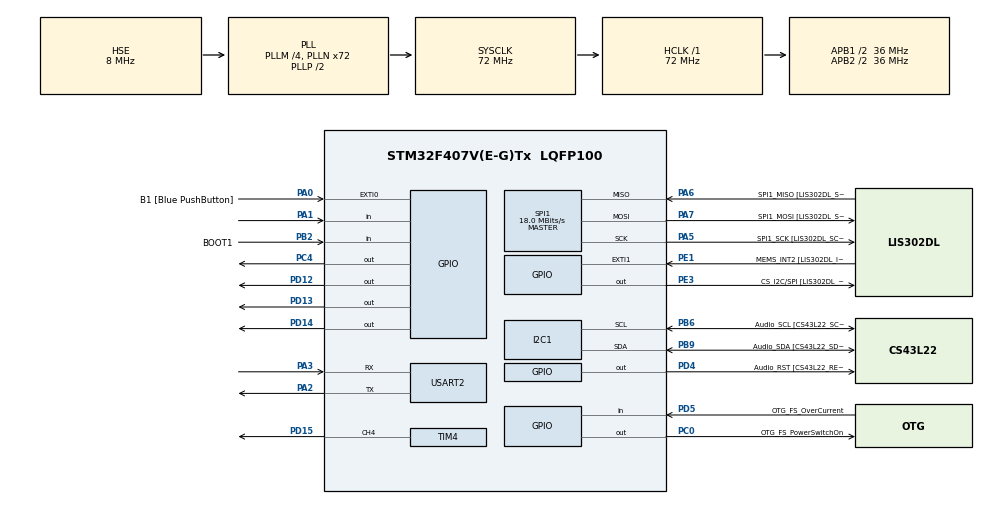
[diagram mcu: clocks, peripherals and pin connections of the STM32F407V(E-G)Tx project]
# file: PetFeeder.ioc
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Mcu.Family=STM32F4
Mcu.Name=STM32F407V(E-G)Tx
Mcu.Package=LQFP100
NVIC.PriorityGroup=NVIC_PRIORITYGROUP_0
PA0-WKUP.GPIO_Label=B1 [Blue PushButton]
PA0-WKUP.GPIO_ModeDefaultEXTI=GPIO_MODE_EVT_RISING
PA0-WKUP.GPIO_PuPd=GPIO_NOPULL
PA0-WKUP.Signal=GPXTI0
PA1.Signal=GPIO_Input
PA13.Mode=Serial_Wire
PA13.Signal=SYS_JTMS-SWDIO
PA14.Mode=Serial_Wire
PA14.Signal=SYS_JTCK-SWCLK
PA2.Mode=Asynchronous
PA2.Signal=USART2_TX
PA3.Mode=Asynchronous
PA3.Signal=USART2_RX
PA4.GPIO_Label=I2S3_WS [CS43L22_LRCK]
PA4.GPIO_Mode=GPIO_MODE_AF_PP
PA4.GPIO_PuPd=GPIO_NOPULL
PA4.GPIO_Speed=GPIO_SPEED_FREQ_LOW
PA4.Signal=I2S3_WS
PA5.GPIO_Label=SPI1_SCK [LIS302DL_SCL/SPC]
PA5.GPIO_Mode=GPIO_MODE_AF_PP
PA5.GPIO_PuPd=GPIO_NOPULL
PA5.GPIO_Speed=GPIO_SPEED_FREQ_LOW
PA5.Mode=Full_Duplex_Master
PA5.Signal=SPI1_SCK
PA6.GPIO_Label=SPI1_MISO [LIS302DL_SDO]
PA6.GPIO_Mode=GPIO_MODE_AF_PP
PA6.GPIO_PuPd=GPIO_NOPULL
PA6.GPIO_Speed=GPIO_SPEED_FREQ_LOW
PA6.Mode=Full_Duplex_Master
PA6.Signal=SPI1_MISO
PA7.GPIO_Label=SPI1_MOSI [LIS302DL_SDA/SDI/SDO]
PA7.GPIO_Mode=GPIO_MODE_AF_PP
PA7.GPIO_PuPd=GPIO_NOPULL
PA7.GPIO_Speed=GPIO_SPEED_FREQ_LOW
PA7.Mode=Full_Duplex_Master
PA7.Signal=SPI1_MOSI
PB2.GPIO_Label=BOOT1
PB2.GPIO_Mode=GPIO_MODE_INPUT
PB2.GPIO_PuPd=GPIO_NOPULL
PB2.Signal=GPIO_Input
PB3.GPIO_Label=SWO
PB3.Signal=SYS_JTDO-SWO
PB6.GPIO_Label=Audio_SCL [CS43L22_SCL]
PB6.GPIO_Mode=GPIO_MODE_AF_OD
PB6.GPIO_PuPd=GPIO_NOPULL
PB6.GPIO_Speed=GPIO_SPEED_FREQ_LOW
PB6.Mode=I2C
PB6.Signal=I2C1_SCL
PB9.GPIO_Label=Audio_SDA [CS43L22_SDA]
PB9.GPIO_Mode=GPIO_MODE_AF_OD
PB9.GPIO_PuPd=GPIO_NOPULL
PB9.GPIO_Speed=GPIO_SPEED_FREQ_LOW
PB9.Mode=I2C
PB9.Signal=I2C1_SDA
PC0.GPIO_Label=OTG_FS_PowerSwitchOn
PC0.GPIO_PuPd=GPIO_NOPULL
PC0.GPIO_Speed=GPIO_SPEED_FREQ_LOW
PC0.PinState=GPIO_PIN_SET
PC0.Signal=GPIO_Output
PC12.GPIO_Label=I2S3_SD [CS43L22_SDIN]
PC12.GPIO_Mode=GPIO_MODE_AF_PP
PC12.GPIO_PuPd=GPIO_NOPULL
PC12.GPIO_Speed=GPIO_SPEED_FREQ_LOW
PC12.Signal=I2S3_SD
PC14-OSC32_IN.GPIO_Label=PC14-OSC32_IN
PC14-OSC32_IN.Mode=LSE-External-Oscillator
PC14-OSC32_IN.Signal=RCC_OSC32_IN
PC15-OSC32_OUT.GPIO_Label=PC15-OSC32_OUT
PC15-OSC32_OUT.Mode=LSE-External-Oscillator
PC15-OSC32_OUT.Signal=RCC_OSC32_OUT
PC3.GPIO_Label=PDM_OUT [MP45DT02_DOUT]
PC3.GPIO_Mode=GPIO_MODE_AF_PP
PC3.GPIO_PuPd=GPIO_NOPULL
PC3.GPIO_Speed=GPIO_SPEED_FREQ_LOW
PC3.Signal=I2S2_SD
PC4.Signal=GPIO_Output
PC7.GPIO_Label=I2S3_MCK [CS43L22_MCLK]
PC7.GPIO_Mode=GPIO_MODE_AF_PP
PC7.GPIO_PuPd=GPIO_NOPULL
PC7.GPIO_Speed=GPIO_SPEED_FREQ_LOW
PC7.Signal=I2S3_MCK
PD12.Signal=GPIO_Output
PD13.Signal=GPIO_Output
PD14.Signal=GPIO_Output
PD15.Signal=S_TIM4_CH4
PD4.GPIO_Label=Audio_RST [CS43L22_RESET]
PD4.GPIO_PuPd=GPIO_NOPULL
PD4.GPIO_Speed=GPIO_SPEED_FREQ_LOW
PD4.Signal=GPIO_Output
PD5.GPIO_Label=OTG_FS_OverCurrent
PD5.GPIO_Mode=GPIO_MODE_INPUT
PD5.GPIO_PuPd=GPIO_NOPULL
PD5.Signal=GPIO_Input
PE1.GPIO_Label=MEMS_INT2 [LIS302DL_INT2]
PE1.GPIO_ModeDefaultEXTI=GPIO_MODE_EVT_RISING
PE1.GPIO_PuPd=GPIO_NOPULL
PE1.Signal=GPXTI1
PE3.GPIO_Label=CS_I2C/SPI [LIS302DL_CS_I2C/SPI]
PE3.GPIO_PuPd=GPIO_NOPULL
PE3.GPIO_Speed=GPIO_SPEED_FREQ_LOW
PE3.Signal=GPIO_Output
PH0-OSC_IN.GPIO_Label=PH0-OSC_IN
PH0-OSC_IN.Mode=HSE-External-Oscillator
PH0-OSC_IN.Signal=RCC_OSC_IN
PH1-OSC_OUT.GPIO_Label=PH1-OSC_OUT
PH1-OSC_OUT.Mode=HSE-External-Oscillator
PH1-OSC_OUT.Signal=RCC_OSC_OUT
ProjectManager.HeapSize=0x200
ProjectManager.StackSize=0x400
ProjectManager.TargetToolchain=STM32CubeIDE
RCC.48MHZClocksFreq_Value=20571428.57142857
RCC.AHBFreq_Value=72000000
RCC.APB1CLKDivider=RCC_HCLK_DIV2
RCC.APB1Freq_Value=36000000
RCC.APB1TimFreq_Value=72000000
RCC.APB2CLKDivider=RCC_HCLK_DIV2
RCC.APB2Freq_Value=36000000
RCC.APB2TimFreq_Value=72000000
RCC.CortexFreq_Value=72000000
RCC.HCLKFreq_Value=72000000
RCC.HSE_VALUE=8000000
RCC.HSI_VALUE=16000000
RCC.PLLM=4
RCC.PLLN=72
RCC.PLLQ=7
RCC.PLLSourceVirtual=RCC_PLLSOURCE_HSE
RCC.SYSCLKFreq_VALUE=72000000
RCC.SYSCLKSource=RCC_SYSCLKSOURCE_PLLCLK
RCC.VCOOutputFreq_Value=144000000
RTC.AsynchPrediv=127
RTC.SynchPrediv=255
SH.S_TIM4_CH4.0=TIM4_CH4,PWM Generation4 CH4
SPI1.BaudRatePrescaler-Full_Duplex_Master=SPI_BAUDRATEPRESCALER_2
SPI1.CalculateBaudRate=18.0 MBits/s
SPI1.CalculateBaudRate-Full_Duplex_Master=42.0 MBits/s
SPI1.Direction=SPI_DIRECTION_2LINES
SPI1.Mode=SPI_MODE_MASTER
SPI1.Mode-Full_Duplex_Master=SPI_MODE_MASTER
SPI1.VirtualType=VM_MASTER
TIM4.Channel-PWM\ Generation4\ CH4=TIM_CHANNEL_4
TIM4.Period=1000
TIM4.Prescaler=71
USART2.VirtualMode=VM_ASYNC
VP_RTC_VS_RTC_Activate.Mode=RTC_Enabled
VP_RTC_VS_RTC_Calendar.Mode=RTC_Calendar
VP_TIM4_VS_ClockSourceINT.Mode=Internal
board=STM32F4DISCOVERY

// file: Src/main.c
/* USER CODE BEGIN Header */
/**
  ******************************************************************************
  * @file           : main.c
  * @brief          : Main program body
  ******************************************************************************
  * @attention
  *
  * <h2><center>&copy; Copyright (c) 2019 STMicroelectronics.
  * All rights reserved.</center></h2>
  *
  * This software component is licensed by ST under Ultimate Liberty license
  * SLA0044, the "License"; You may not use this file except in compliance with
  * the License. You may obtain a copy of the License at:
  *                             www.st.com/SLA0044
  *
  ******************************************************************************
  */
/* USER CODE END Header */

#include "main.h"

/* USER CODE BEGIN Includes */
#include <time.h>
/* USER CODE END Includes */

I2C_HandleTypeDef hi2c1;

RTC_HandleTypeDef hrtc;

SPI_HandleTypeDef hspi1;

TIM_HandleTypeDef htim4;

UART_HandleTypeDef huart2;

void SystemClock_Config(void);
static void MX_GPIO_Init(void);
static void MX_I2C1_Init(void);
static void MX_SPI1_Init(void);
static void MX_TIM4_Init(void);
static void MX_RTC_Init(void);
static void MX_USART2_UART_Init(void);

/* USER CODE BEGIN 0 */
uint32_t dist;
uint32_t sensor_time;

unsigned int hour0;
unsigned int min0;
unsigned int sec0;
unsigned int diffNotifyTime;
unsigned int delayTime;
int maxEmpty = 20;
char buf[10];
int tmp;

void delay (uint32_t us)
  {
   __HAL_TIM_SET_COUNTER(&htim4, 0);
   while ((__HAL_TIM_GET_COUNTER(&htim4))<us);
  }
  uint32_t hcsr04_read (void)
  {
   uint32_t local_time=0;
   HAL_GPIO_WritePin(GPIOC, GPIO_PIN_4, GPIO_PIN_RESET);  // pull the TRIG pin HIGH
   delay(2);  // wait for 2 us

   HAL_GPIO_WritePin(GPIOC, GPIO_PIN_4, GPIO_PIN_SET);  // pull the TRIG pin HIGH
   delay(10);  // wait for 10 us
   HAL_GPIO_WritePin(GPIOC, GPIO_PIN_4, GPIO_PIN_RESET);  // pull the TRIG pin low

   // read the time for which the pin is high

   while (!(HAL_GPIO_ReadPin(GPIOA, GPIO_PIN_1)));  // wait for the ECHO pin to go high
   while (HAL_GPIO_ReadPin(GPIOA, GPIO_PIN_1))    // while the pin is high
    {
    local_time++;   // measure time for which the pin is high
    delay (1);
    }
   return local_time;
  }

 unsigned int rtc_read(int mode) {//0 for hour, 1 for minute, 2 for second
      RTC_DateTypeDef dateStruct;
      RTC_TimeTypeDef timeStruct;
      struct tm timeinfo;

      hrtc.Instance = RTC;

      // Read actual date and time
      HAL_RTC_GetTime(&hrtc, &timeStruct, FORMAT_BIN); // Read time first!
      HAL_RTC_GetDate(&hrtc, &dateStruct, FORMAT_BIN);

      // Setup a tm structure based on the RTC
      timeinfo.tm_wday = dateStruct.WeekDay;
      timeinfo.tm_mon  = dateStruct.Month - 1;
      timeinfo.tm_mday = dateStruct.Date;
      timeinfo.tm_year = dateStruct.Year + 100;
      timeinfo.tm_hour = timeStruct.Hours;
      timeinfo.tm_min  = timeStruct.Minutes;
      timeinfo.tm_sec  = timeStruct.Seconds;

      if(mode==0) return timeinfo.tm_year;
      if(mode==1) return timeinfo.tm_min;
      return timeinfo.tm_sec;
  }

unsigned int getTime(unsigned int hour,unsigned int min,unsigned int sec)
{
	return hour*3600+min*60+sec;
}

_Bool canNotify()
{
	 unsigned int hour2=rtc_read(0);
	 unsigned int min2=rtc_read(1);
	 unsigned int sec2=rtc_read(2);
	 unsigned int oldTime=getTime(hour0,min0,sec0);
	 unsigned int newTime=getTime(hour2,min2,sec2);
	 if((newTime-oldTime) > diffNotifyTime) return 1;
	 else return 0;
}

void setCurTime()
{
	hour0=rtc_read(0);
	min0=rtc_read(1);
	sec0=rtc_read(2);
	return ;

}

void initNotify(unsigned int diffTime)
{
	setCurTime();
	diffNotifyTime=diffTime-delayTime/1000;
	return;
}

void notify()
{
	if(!canNotify()) return;
	char c[]="1";
	HAL_UART_Transmit(&huart2, c, sizeof(c), 1000);
	setCurTime();
	return;
}

uint32_t readFromSensor()
{
	return hcsr04_read() * .0346;
}

void sendByUART(_Bool status,int dist) //send To uart LIKE "OFF,ERROR" or "ON,50"
{
	int tmp = (int)((((double)maxEmpty - (double)dist)/(double)maxEmpty)*100);
	for(int i=0;i<10;i++) buf[i]='\0';
	if(tmp < 0)
	{
		if(!status) sprintf(buf,"OFF,ERROR");
		else sprintf(buf,"ON,ERROR");
	}
	else
	{
		if(!status) sprintf(buf,"OFF,%d",tmp);
		else sprintf(buf,"ON,%d",tmp);

	}
	HAL_UART_Transmit(&huart2, buf, sizeof(buf), 1000);
}

/* USER CODE END 0 */

int main(void)
{

  /* MCU Configuration--------------------------------------------------------*/

  /* Reset of all peripherals, Initializes the Flash interface and the Systick. */
HAL_Init();

  /* Configure the system clock */
  SystemClock_Config();

  /* USER CODE BEGIN SysInit */

  unsigned int minEmpty=15;
  unsigned int maxEmpty=20;
  unsigned int diffTime = 10;//In second
  delayTime = 1000; //In milli second
  initNotify(diffTime);

  /* USER CODE END SysInit */

  /* Initialize all configured peripherals */
  MX_GPIO_Init();
  MX_I2C1_Init();
  MX_SPI1_Init();
  MX_TIM4_Init();
  MX_RTC_Init();
  MX_USART2_UART_Init();

  /* Infinite loop */
  /* USER CODE BEGIN WHILE */
  HAL_TIM_PWM_Start(&htim4, TIM_CHANNEL_4);
  while (1)
  {
	  /////////1//////
	  dist  = readFromSensor();
	  if(dist >= minEmpty && dist<=maxEmpty){ //Empty -> Notify
		  HAL_Delay(30);
		  dist = readFromSensor();
		  if(dist >=minEmpty && dist <=maxEmpty)
		  {
			  //notify();
			  //HAL_GPIO_WritePin(GPIOD, GPIO_PIN_14, 1);
			  //HAL_GPIO_WritePin(GPIOD, GPIO_PIN_13, 0);
		  }
	  }
	  else{ //Full
		  //HAL_GPIO_WritePin(GPIOD, GPIO_PIN_14, 0);
		  //HAL_GPIO_WritePin(GPIOD, GPIO_PIN_13, 1);
	  }
	  _Bool status = HAL_GPIO_ReadPin(GPIOD, GPIO_PIN_14);
	  sendByUART(status, dist);
	  HAL_Delay(delayTime);

	  if(HAL_UART_Receive(&huart2, buf, 1, 1000) == HAL_OK){ //if receive data from NODEMCU
		  if(buf[0]=='1')
		  {
			  HAL_GPIO_WritePin(GPIOD, GPIO_PIN_13, 1);
			  HAL_Delay(1000);
			  HAL_GPIO_WritePin(GPIOD, GPIO_PIN_13, 0);
		  }
	  }

    /* USER CODE END WHILE */

  }
}

void SystemClock_Config(void)
{
  RCC_OscInitTypeDef RCC_OscInitStruct = {0};
  RCC_ClkInitTypeDef RCC_ClkInitStruct = {0};
  RCC_PeriphCLKInitTypeDef PeriphClkInitStruct = {0};

  /** Configure the main internal regulator output voltage
  */
  __HAL_RCC_PWR_CLK_ENABLE();
  __HAL_PWR_VOLTAGESCALING_CONFIG(PWR_REGULATOR_VOLTAGE_SCALE1);
  /** Initializes the CPU, AHB and APB busses clocks
  */
  RCC_OscInitStruct.OscillatorType = RCC_OSCILLATORTYPE_LSI|RCC_OSCILLATORTYPE_HSE;
  RCC_OscInitStruct.HSEState = RCC_HSE_ON;
  RCC_OscInitStruct.LSIState = RCC_LSI_ON;
  RCC_OscInitStruct.PLL.PLLState = RCC_PLL_ON;
  RCC_OscInitStruct.PLL.PLLSource = RCC_PLLSOURCE_HSE;
  RCC_OscInitStruct.PLL.PLLM = 4;
  RCC_OscInitStruct.PLL.PLLN = 72;
  RCC_OscInitStruct.PLL.PLLP = RCC_PLLP_DIV2;
  RCC_OscInitStruct.PLL.PLLQ = 7;
  if (HAL_RCC_OscConfig(&RCC_OscInitStruct) != HAL_OK)
  {
    Error_Handler();
  }
  /** Initializes the CPU, AHB and APB busses clocks
  */
  RCC_ClkInitStruct.ClockType = RCC_CLOCKTYPE_HCLK|RCC_CLOCKTYPE_SYSCLK
                              |RCC_CLOCKTYPE_PCLK1|RCC_CLOCKTYPE_PCLK2;
  RCC_ClkInitStruct.SYSCLKSource = RCC_SYSCLKSOURCE_PLLCLK;
  RCC_ClkInitStruct.AHBCLKDivider = RCC_SYSCLK_DIV1;
  RCC_ClkInitStruct.APB1CLKDivider = RCC_HCLK_DIV2;
  RCC_ClkInitStruct.APB2CLKDivider = RCC_HCLK_DIV2;

  if (HAL_RCC_ClockConfig(&RCC_ClkInitStruct, FLASH_LATENCY_2) != HAL_OK)
  {
    Error_Handler();
  }
  PeriphClkInitStruct.PeriphClockSelection = RCC_PERIPHCLK_RTC;
  PeriphClkInitStruct.RTCClockSelection = RCC_RTCCLKSOURCE_LSI;
  if (HAL_RCCEx_PeriphCLKConfig(&PeriphClkInitStruct) != HAL_OK)
  {
    Error_Handler();
  }
}

static void MX_I2C1_Init(void)
{

  hi2c1.Instance = I2C1;
  hi2c1.Init.ClockSpeed = 100000;
  hi2c1.Init.DutyCycle = I2C_DUTYCYCLE_2;
  hi2c1.Init.OwnAddress1 = 0;
  hi2c1.Init.AddressingMode = I2C_ADDRESSINGMODE_7BIT;
  hi2c1.Init.DualAddressMode = I2C_DUALADDRESS_DISABLE;
  hi2c1.Init.OwnAddress2 = 0;
  hi2c1.Init.GeneralCallMode = I2C_GENERALCALL_DISABLE;
  hi2c1.Init.NoStretchMode = I2C_NOSTRETCH_DISABLE;
  if (HAL_I2C_Init(&hi2c1) != HAL_OK)
  {
    Error_Handler();
  }

}

static void MX_RTC_Init(void)
{

  RTC_TimeTypeDef sTime = {0};
  RTC_DateTypeDef sDate = {0};

  /** Initialize RTC Only
  */
  hrtc.Instance = RTC;
  hrtc.Init.HourFormat = RTC_HOURFORMAT_24;
  hrtc.Init.AsynchPrediv = 127;
  hrtc.Init.SynchPrediv = 255;
  hrtc.Init.OutPut = RTC_OUTPUT_DISABLE;
  hrtc.Init.OutPutPolarity = RTC_OUTPUT_POLARITY_HIGH;
  hrtc.Init.OutPutType = RTC_OUTPUT_TYPE_OPENDRAIN;
  if (HAL_RTC_Init(&hrtc) != HAL_OK)
  {
    Error_Handler();
  }

  /** Initialize RTC and set the Time and Date
  */
  sTime.Hours = 0x0;
  sTime.Minutes = 0x0;
  sTime.Seconds = 0x0;
  sTime.DayLightSaving = RTC_DAYLIGHTSAVING_NONE;
  sTime.StoreOperation = RTC_STOREOPERATION_RESET;
  if (HAL_RTC_SetTime(&hrtc, &sTime, RTC_FORMAT_BCD) != HAL_OK)
  {
    Error_Handler();
  }
  sDate.WeekDay = RTC_WEEKDAY_MONDAY;
  sDate.Month = RTC_MONTH_JANUARY;
  sDate.Date = 0x1;
  sDate.Year = 0x0;

  if (HAL_RTC_SetDate(&hrtc, &sDate, RTC_FORMAT_BCD) != HAL_OK)
  {
    Error_Handler();
  }

}

static void MX_SPI1_Init(void)
{

  /* SPI1 parameter configuration*/
  hspi1.Instance = SPI1;
  hspi1.Init.Mode = SPI_MODE_MASTER;
  hspi1.Init.Direction = SPI_DIRECTION_2LINES;
  hspi1.Init.DataSize = SPI_DATASIZE_8BIT;
  hspi1.Init.CLKPolarity = SPI_POLARITY_LOW;
  hspi1.Init.CLKPhase = SPI_PHASE_1EDGE;
  hspi1.Init.NSS = SPI_NSS_SOFT;
  hspi1.Init.BaudRatePrescaler = SPI_BAUDRATEPRESCALER_2;
  hspi1.Init.FirstBit = SPI_FIRSTBIT_MSB;
  hspi1.Init.TIMode = SPI_TIMODE_DISABLE;
  hspi1.Init.CRCCalculation = SPI_CRCCALCULATION_DISABLE;
  hspi1.Init.CRCPolynomial = 10;
  if (HAL_SPI_Init(&hspi1) != HAL_OK)
  {
    Error_Handler();
  }

}

static void MX_TIM4_Init(void)
{

  TIM_ClockConfigTypeDef sClockSourceConfig = {0};
  TIM_MasterConfigTypeDef sMasterConfig = {0};
  TIM_OC_InitTypeDef sConfigOC = {0};

  htim4.Instance = TIM4;
  htim4.Init.Prescaler = 71;
  htim4.Init.CounterMode = TIM_COUNTERMODE_UP;
  htim4.Init.Period = 1000;
  htim4.Init.ClockDivision = TIM_CLOCKDIVISION_DIV1;
  htim4.Init.AutoReloadPreload = TIM_AUTORELOAD_PRELOAD_DISABLE;
  if (HAL_TIM_Base_Init(&htim4) != HAL_OK)
  {
    Error_Handler();
  }
  sClockSourceConfig.ClockSource = TIM_CLOCKSOURCE_INTERNAL;
  if (HAL_TIM_ConfigClockSource(&htim4, &sClockSourceConfig) != HAL_OK)
  {
    Error_Handler();
  }
  if (HAL_TIM_PWM_Init(&htim4) != HAL_OK)
  {
    Error_Handler();
  }
  sMasterConfig.MasterOutputTrigger = TIM_TRGO_RESET;
  sMasterConfig.MasterSlaveMode = TIM_MASTERSLAVEMODE_DISABLE;
  if (HAL_TIMEx_MasterConfigSynchronization(&htim4, &sMasterConfig) != HAL_OK)
  {
    Error_Handler();
  }
  sConfigOC.OCMode = TIM_OCMODE_PWM1;
  sConfigOC.Pulse = 0;
  sConfigOC.OCPolarity = TIM_OCPOLARITY_HIGH;
  sConfigOC.OCFastMode = TIM_OCFAST_DISABLE;
  if (HAL_TIM_PWM_ConfigChannel(&htim4, &sConfigOC, TIM_CHANNEL_4) != HAL_OK)
  {
    Error_Handler();
  }
  HAL_TIM_MspPostInit(&htim4);

}

static void MX_USART2_UART_Init(void)
{

  huart2.Instance = USART2;
  huart2.Init.BaudRate = 115200;
  huart2.Init.WordLength = UART_WORDLENGTH_8B;
  huart2.Init.StopBits = UART_STOPBITS_1;
  huart2.Init.Parity = UART_PARITY_NONE;
  huart2.Init.Mode = UART_MODE_TX_RX;
  huart2.Init.HwFlowCtl = UART_HWCONTROL_NONE;
  huart2.Init.OverSampling = UART_OVERSAMPLING_16;
  if (HAL_UART_Init(&huart2) != HAL_OK)
  {
    Error_Handler();
  }

}

static void MX_GPIO_Init(void)
{
  GPIO_InitTypeDef GPIO_InitStruct = {0};

  /* GPIO Ports Clock Enable */
  __HAL_RCC_GPIOE_CLK_ENABLE();
  __HAL_RCC_GPIOC_CLK_ENABLE();
  __HAL_RCC_GPIOH_CLK_ENABLE();
  __HAL_RCC_GPIOA_CLK_ENABLE();
  __HAL_RCC_GPIOB_CLK_ENABLE();
  __HAL_RCC_GPIOD_CLK_ENABLE();

  /*Configure GPIO pin Output Level */
  HAL_GPIO_WritePin(CS_I2C_SPI_GPIO_Port, CS_I2C_SPI_Pin, GPIO_PIN_RESET);

  /*Configure GPIO pin Output Level */
  HAL_GPIO_WritePin(OTG_FS_PowerSwitchOn_GPIO_Port, OTG_FS_PowerSwitchOn_Pin, GPIO_PIN_SET);

  /*Configure GPIO pin Output Level */
  HAL_GPIO_WritePin(GPIOC, GPIO_PIN_4, GPIO_PIN_RESET);

  /*Configure GPIO pin Output Level */
  HAL_GPIO_WritePin(GPIOD, GPIO_PIN_12|GPIO_PIN_13|GPIO_PIN_14|Audio_RST_Pin, GPIO_PIN_RESET);

  /*Configure GPIO pin : CS_I2C_SPI_Pin */
  GPIO_InitStruct.Pin = CS_I2C_SPI_Pin;
  GPIO_InitStruct.Mode = GPIO_MODE_OUTPUT_PP;
  GPIO_InitStruct.Pull = GPIO_NOPULL;
  GPIO_InitStruct.Speed = GPIO_SPEED_FREQ_LOW;
  HAL_GPIO_Init(CS_I2C_SPI_GPIO_Port, &GPIO_InitStruct);

  /*Configure GPIO pins : OTG_FS_PowerSwitchOn_Pin PC4 */
  GPIO_InitStruct.Pin = OTG_FS_PowerSwitchOn_Pin|GPIO_PIN_4;
  GPIO_InitStruct.Mode = GPIO_MODE_OUTPUT_PP;
  GPIO_InitStruct.Pull = GPIO_NOPULL;
  GPIO_InitStruct.Speed = GPIO_SPEED_FREQ_LOW;
  HAL_GPIO_Init(GPIOC, &GPIO_InitStruct);

  /*Configure GPIO pin : PDM_OUT_Pin */
  GPIO_InitStruct.Pin = PDM_OUT_Pin;
  GPIO_InitStruct.Mode = GPIO_MODE_AF_PP;
  GPIO_InitStruct.Pull = GPIO_NOPULL;
  GPIO_InitStruct.Speed = GPIO_SPEED_FREQ_LOW;
  GPIO_InitStruct.Alternate = GPIO_AF5_SPI2;
  HAL_GPIO_Init(PDM_OUT_GPIO_Port, &GPIO_InitStruct);

  /*Configure GPIO pin : B1_Pin */
  GPIO_InitStruct.Pin = B1_Pin;
  GPIO_InitStruct.Mode = GPIO_MODE_EVT_RISING;
  GPIO_InitStruct.Pull = GPIO_NOPULL;
  HAL_GPIO_Init(B1_GPIO_Port, &GPIO_InitStruct);

  /*Configure GPIO pin : PA1 */
  GPIO_InitStruct.Pin = GPIO_PIN_1;
  GPIO_InitStruct.Mode = GPIO_MODE_INPUT;
  GPIO_InitStruct.Pull = GPIO_NOPULL;
  HAL_GPIO_Init(GPIOA, &GPIO_InitStruct);

  /*Configure GPIO pin : I2S3_WS_Pin */
  GPIO_InitStruct.Pin = I2S3_WS_Pin;
  GPIO_InitStruct.Mode = GPIO_MODE_AF_PP;
  GPIO_InitStruct.Pull = GPIO_NOPULL;
  GPIO_InitStruct.Speed = GPIO_SPEED_FREQ_LOW;
  GPIO_InitStruct.Alternate = GPIO_AF6_SPI3;
  HAL_GPIO_Init(I2S3_WS_GPIO_Port, &GPIO_InitStruct);

  /*Configure GPIO pin : BOOT1_Pin */
  GPIO_InitStruct.Pin = BOOT1_Pin;
  GPIO_InitStruct.Mode = GPIO_MODE_INPUT;
  GPIO_InitStruct.Pull = GPIO_NOPULL;
  HAL_GPIO_Init(BOOT1_GPIO_Port, &GPIO_InitStruct);

  /*Configure GPIO pins : PD12 PD13 PD14 Audio_RST_Pin */
  GPIO_InitStruct.Pin = GPIO_PIN_12|GPIO_PIN_13|GPIO_PIN_14|Audio_RST_Pin;
  GPIO_InitStruct.Mode = GPIO_MODE_OUTPUT_PP;
  GPIO_InitStruct.Pull = GPIO_NOPULL;
  GPIO_InitStruct.Speed = GPIO_SPEED_FREQ_LOW;
  HAL_GPIO_Init(GPIOD, &GPIO_InitStruct);

  /*Configure GPIO pins : I2S3_MCK_Pin I2S3_SD_Pin */
  GPIO_InitStruct.Pin = I2S3_MCK_Pin|I2S3_SD_Pin;
  GPIO_InitStruct.Mode = GPIO_MODE_AF_PP;
  GPIO_InitStruct.Pull = GPIO_NOPULL;
  GPIO_InitStruct.Speed = GPIO_SPEED_FREQ_LOW;
  GPIO_InitStruct.Alternate = GPIO_AF6_SPI3;
  HAL_GPIO_Init(GPIOC, &GPIO_InitStruct);

  /*Configure GPIO pin : OTG_FS_OverCurrent_Pin */
  GPIO_InitStruct.Pin = OTG_FS_OverCurrent_Pin;
  GPIO_InitStruct.Mode = GPIO_MODE_INPUT;
  GPIO_InitStruct.Pull = GPIO_NOPULL;
  HAL_GPIO_Init(OTG_FS_OverCurrent_GPIO_Port, &GPIO_InitStruct);

  /*Configure GPIO pin : MEMS_INT2_Pin */
  GPIO_InitStruct.Pin = MEMS_INT2_Pin;
  GPIO_InitStruct.Mode = GPIO_MODE_EVT_RISING;
  GPIO_InitStruct.Pull = GPIO_NOPULL;
  HAL_GPIO_Init(MEMS_INT2_GPIO_Port, &GPIO_InitStruct);

}

void Error_Handler(void)
{
}

/************************ (C) COPYRIGHT STMicroelectronics *****END OF FILE****/
